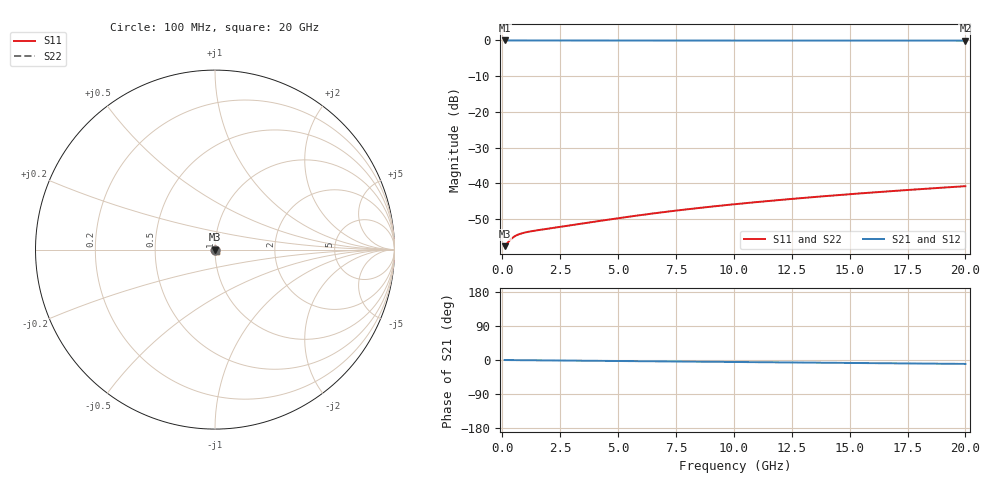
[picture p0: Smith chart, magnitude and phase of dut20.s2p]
! Touchstone file exported from HFSS 2026.1.0
!  File:  C:/ffzhzh/LocalFiles/Ansys_Project_Files/temp_train_TMRDL_20_1782880321_43084.aedt
!  Generated:  12:33:12 PM Jul  1, 2026
!  Design:  TMRDL
!  Project:  temp_train_TMRDL_20_1782880321_43084
! Variables:
!  h_bsmrdl = 2um
!  h_ox = 20um
!  h_rdl = 5um
!  h_sub = 80um
!  h_tmrdl = 3.9um
!  h_tsv = 80um
!  h_via = 3um
!  l_bsmrdl = 300um
!  l_sub = 580.82um
!  l_tmrdl = 180.82um
!  m_sub = 200um
!  pitch = 17.64um
!  r_tsv = 6um
!  s_tmrdl = 10um
!  w_bsmrdl = 18um
!  w_sub = 500um
!  w_tmrdl = 14.53um
!  x_tsv_center1 = 188.085um
!  x_tsv_center2 = 506.085um
!  x_tsv_center3 = 701.435um
!  x_tsv_center4 = 1019.435um
!  x_tsv_center5 = 1214.785um
!  x_tsv_center6 = 1532.785um
# GHz S MA R 50.000000
! Terminal data exported
! Port[1] = TM_RDL1_1_T1
! Port[2] = TM_RDL1_1_T2
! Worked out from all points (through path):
!   200 points, 100 MHz to 20 GHz, reference 50 ohm
!   highest |S21| = -0.01 dB at 100 MHz (marker M1); lowest = -0.1 dB at 20 GHz (marker M2)
!   group delay of S21, straight-line fit = 1.43 ps
!   lowest |S11| = -57.6 dB at 100 MHz (marker M3), VSWR 1.00, Z = 50.1 + j0.0181 ohm
!   |S11| at or under -10 dB: start of sweep to end of sweep
!   |S22| runs from -57.6 to -40.8 dB; largest |S21 - S12| = 2.2e-15
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0.1  0.001324 7.9  0.9987 -0.1  0.9987 -0.1  0.001324 7.9
! Gamma 0 0 0 0
! Port Impedance 50 0 50 0
0.2  0.001438 13.1  0.9986 -0.1  0.9986 -0.1  0.001438 13.1
0.3  0.00157 15.6  0.9985 -0.2  0.9985 -0.2  0.00157 15.6
0.4  0.001691 16.3  0.9984 -0.2  0.9984 -0.2  0.001691 16.3
0.5  0.00179 16.1  0.9983 -0.3  0.9983 -0.3  0.00179 16.1
0.6  0.001869 15.6  0.9982 -0.3  0.9982 -0.3  0.001869 15.6
0.7  0.001933 15.1  0.9981 -0.4  0.9981 -0.4  0.001933 15.1
0.8  0.001984 14.5  0.9981 -0.5  0.9981 -0.5  0.001984 14.5
1  0.002064 13.6  0.998 -0.6  0.998 -0.6  0.002064 13.6
1.3  0.002154 12.7  0.9979 -0.7  0.9979 -0.7  0.002154 12.7
3.5  0.002755 9.8  0.9973 -1.9  0.9973 -1.9  0.002755 9.8
5.3  0.003361 4.7  0.9967 -2.8  0.9967 -2.8  0.003361 4.7
6.8  0.003903 -0.9  0.9961 -3.6  0.9961 -3.6  0.003903 -0.9
7.6  0.004198 -4.1  0.9958 -4.0  0.9958 -4.0  0.004199 -4.1
8.4  0.004496 -7.3  0.9955 -4.4  0.9955 -4.4  0.004497 -7.3
10.1  0.005138 -14.0  0.9949 -5.3  0.9949 -5.3  0.00514 -14.0
11.7  0.005754 -19.9  0.9944 -6.1  0.9944 -6.1  0.005755 -19.9
13.4  0.00642 -25.6  0.9939 -7.0  0.9939 -7.0  0.006422 -25.6
15  0.007059 -30.6  0.9935 -7.8  0.9935 -7.8  0.007062 -30.6
16.7  0.007753 -35.3  0.993 -8.7  0.993 -8.7  0.007756 -35.3
18.3  0.008419 -39.4  0.9927 -9.5  0.9927 -9.5  0.008423 -39.4
20  0.00914 -43.3  0.9923 -10.3  0.9923 -10.3  0.009144 -43.3
